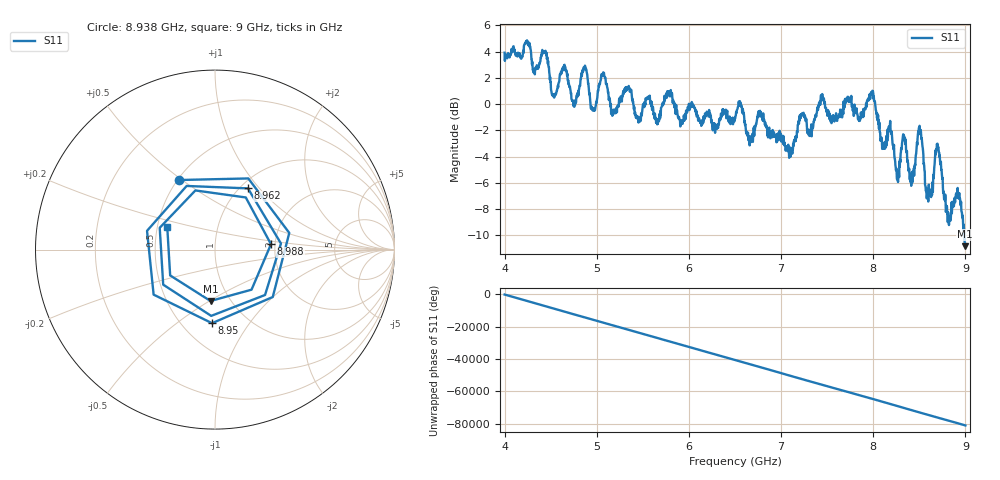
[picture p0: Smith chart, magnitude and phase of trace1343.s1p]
! Created with skrf 1.8.0 (http://scikit-rf.org).
# Hz S RI R 50.0
!freq ReS11 ImS11
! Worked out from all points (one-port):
!   1601 points, 4 GHz to 9 GHz, reference 50 ohm
!   lowest |S11| = -10.8 dB at 8.994 GHz (marker M1), VSWR 1.81, Z = 40.5 - j25.3 ohm
!   |S11| at or under -10 dB: 8.987502 GHz to end of sweep
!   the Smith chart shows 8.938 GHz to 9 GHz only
!   S11 on the Smith chart (normalised r, x): 8.938 GHz: 0.51, +0.49; 8.95 GHz: 0.69, -0.68; 8.962 GHz: 1.09, +0.87; 8.988 GHz: 1.90, +0.13; 9 GHz: 0.57, +0.15
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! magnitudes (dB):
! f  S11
! 4 GHz  3.9
! 4.431 GHz  4.0
! 4.534 GHz  0.6
! 4.625 GHz  2.6
! 4.75 GHz  0.0
! 4.866 GHz  2.8
! 4.959 GHz  -0.5
! 5.069 GHz  2.4
! 5.25 GHz  0.1
! 5.875 GHz  -0.7
! 6.5 GHz  -1.1
! 7.125 GHz  -3.3
! 7.222 GHz  -0.8
! 7.75 GHz  0.5
! 7.994 GHz  0.9
! 8.256 GHz  -5.6
! 8.328 GHz  -2.3
! 8.375 GHz  -4.4
! 8.506 GHz  -1.9
! 8.588 GHz  -6.9
! 8.697 GHz  -3.0
! 8.812 GHz  -8.2
! 8.938 GHz  -7.2
! 8.95 GHz  -7.7
! 8.962 GHz  -8.2
! 8.988 GHz  -10.1
! 8.994 GHz  -10.8
! 9 GHz  -10.7
